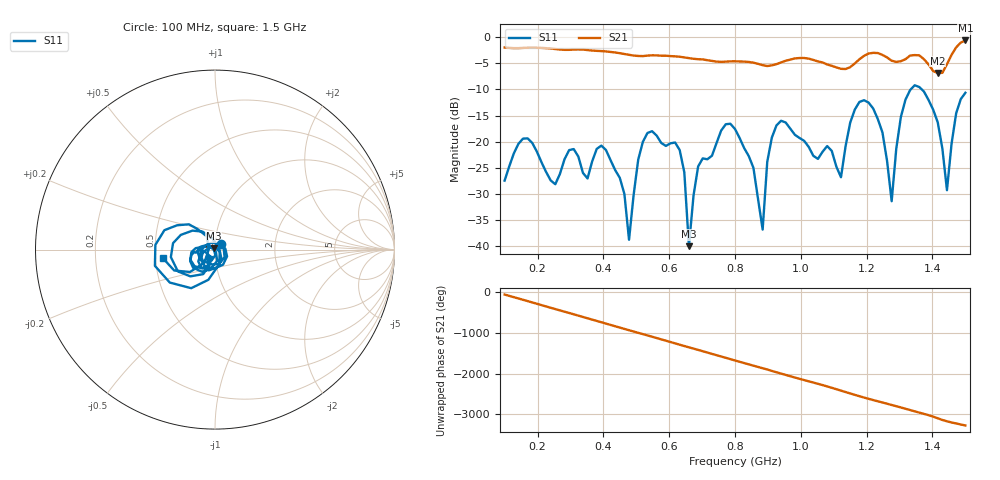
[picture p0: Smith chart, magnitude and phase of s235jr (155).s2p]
! NanoVNA-App
! Date: 2025-09-25 15:05:22
! Start: 100MHz Stop: 1,5GHz Points: 101
! S-Parameter data: F S11 S21 S12 S22
# Hz S RI R 50
!  Frequency  S11_Real  S11_Imag  S21_Real  S21_Imag  S12_Real  S12_Imag  S22_Real  S22_Imag
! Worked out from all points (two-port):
!   101 points, 100 MHz to 1.5 GHz, reference 50 ohm
!   highest |S21| = -0.62 dB at 1.5 GHz (marker M1); lowest = -6.9 dB at 1.416 GHz (marker M2)
!   |S21| within 3 dB of the highest: start of sweep to 604.5 MHz; 1.191 GHz to 1.255 GHz (63.48 MHz wide, 5.19 % of centre) (the widest 2 of 4)
!   lowest |S11| = -40.0 dB at 660 MHz (marker M3), VSWR 1.02, Z = 49.3 + j0.653 ohm
!   |S11| at or under -10 dB: start of sweep to 1.334 GHz; 1.367 GHz to end of sweep
!   S12 and S22 are empty: the file has one direction only
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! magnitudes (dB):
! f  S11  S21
! 100 MHz  -27.5  -2.0
! 156 MHz  -19.4  -2.0
! 338 MHz  -26.0  -2.4
! 408 MHz  -21.6  -2.7
! 478 MHz  -38.8  -3.4
! 520 MHz  -20.1  -3.6
! 576 MHz  -20.3  -3.5
! 632 MHz  -21.6  -3.7
! 660 MHz  -40.0  -4.0
! 688 MHz  -24.8  -4.2
! 800 MHz  -17.6  -4.6
! 884 MHz  -36.8  -5.4
! 898 MHz  -23.9  -5.5
! 926 MHz  -16.9  -5.2
! 1.038 GHz  -22.7  -4.3
! 1.122 GHz  -26.8  -6.1
! 1.206 GHz  -12.5  -3.1
! 1.276 GHz  -31.4  -4.5
! 1.332 GHz  -10.1  -3.5
! 1.416 GHz  -16.3  -6.9
! 1.444 GHz  -29.3  -5.2
! 1.5 GHz  -10.6  -0.6
